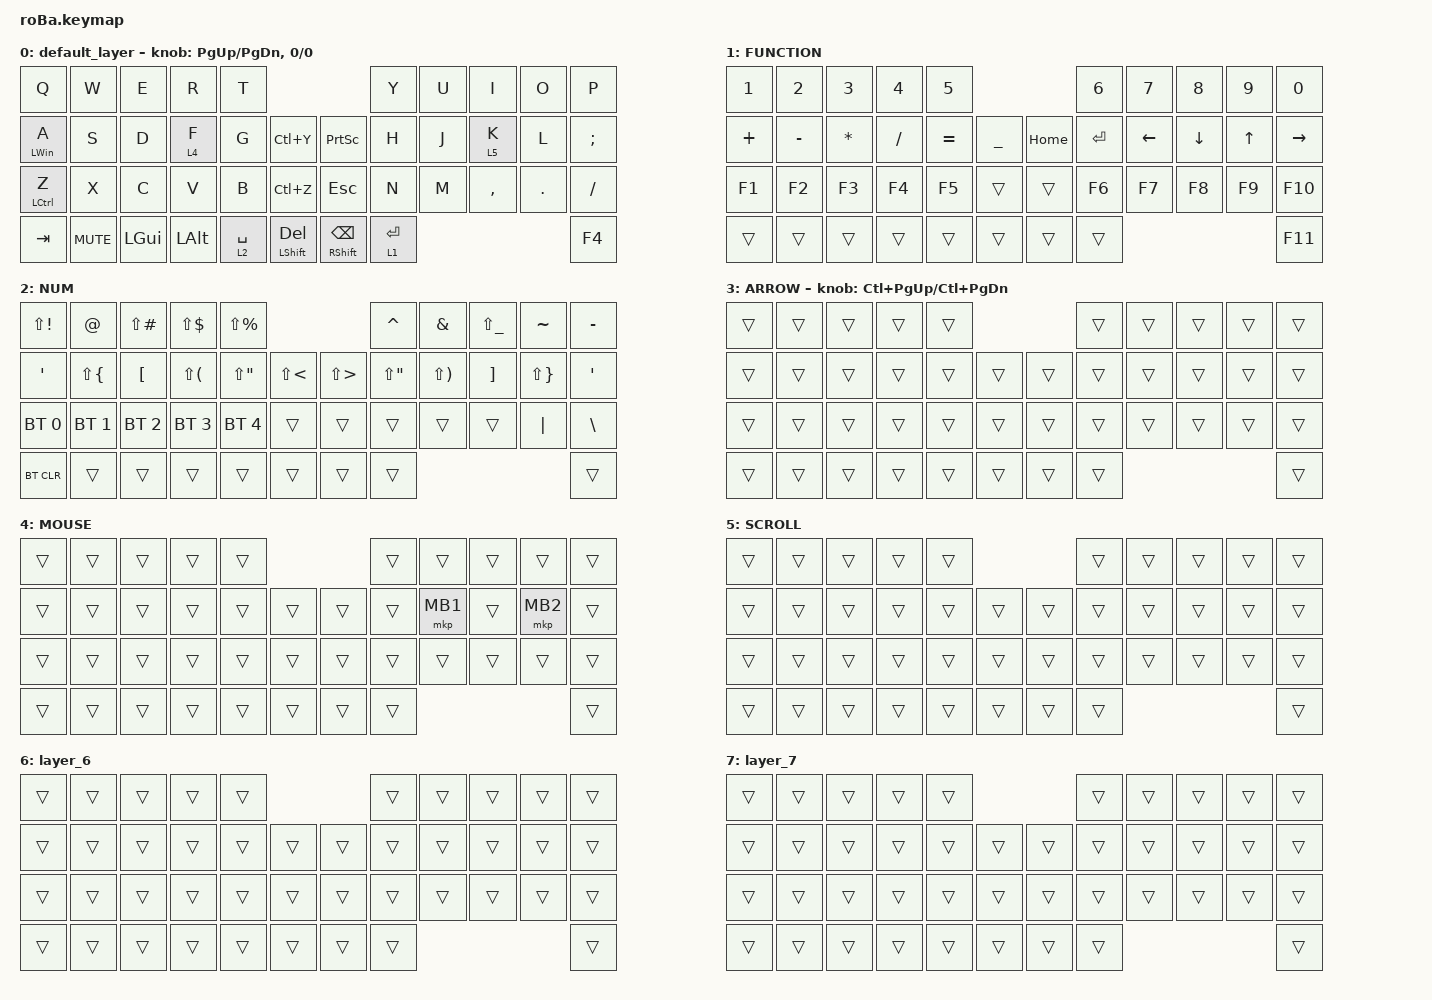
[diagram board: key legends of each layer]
#include <behaviors.dtsi>
#include <dt-bindings/zmk/bt.h>
#include <dt-bindings/zmk/keys.h>
#include <dt-bindings/zmk/pointing.h>

#define MOUSE 4
#define SCROLL 5
#define NUM 6

&mt {
    flavor = "balanced";
    quick-tap-ms = <0>;
};

/ {
    combos {
        compatible = "zmk,combos";

        shift_tab {
            bindings = <&kp LANG2>;
            key-positions = <12 13>;
        };

        log {
            bindings = <&log>;
            key-positions = <20 21>;
        };

        lang {
            bindings = <&kp LANG1>;
            key-positions = <18 19>;
        };

        pas {
            bindings = <&pas>;
            key-positions = <33 32>;
        };
    };

    macros {
        log: log {
            compatible = "zmk,behavior-macro";
            #binding-cells = <0>;
            bindings = <&kp T &kp DOT &kp N &kp A &kp K &kp A &kp N &kp O &kp DOT &kp F &kp N8 &kp X>;
            label = "LOG";
        };

        pas: pas {
            compatible = "zmk,behavior-macro";
            #binding-cells = <0>;
            bindings = <&kp N1 &kp N1 &kp N1 &kp N1 &kp N1 &kp N1 &kp N1 &kp N1 &kp LS(A) &kp A>;
            label = "PAS";
        };
    };

    keymap {
        compatible = "zmk,keymap";

        default_layer {
            bindings = <
&kp Q               &kp W       &kp E         &kp R         &kp T                                                    &kp Y        &kp U  &kp I      &kp O    &kp P
&mt LEFT_WIN A      &kp S       &kp D         &lt 4 F       &kp G        &kp LC(Y)              &kp PRINTSCREEN      &kp H        &kp J  &lt 5 K    &kp L    &kp SEMICOLON
&mt LEFT_CONTROL Z  &kp X       &kp C         &kp V         &kp B        &kp LC(Z)              &kp ESC              &kp N        &kp M  &kp COMMA  &kp DOT  &kp SLASH
&kp TAB             &kp C_MUTE  &kp LEFT_GUI  &kp LEFT_ALT  &lt 2 SPACE  &mt LSHIFT DELETE      &mt RSHFT BACKSPACE  &lt 1 ENTER                             &kp F4
            >;

            sensor-bindings = <&inc_dec_kp PG_UP PAGE_DOWN>, <&inc_dec_kp 0 0>;
        };

        FUNCTION {
            bindings = <
&kp N1    &kp N2     &kp N3     &kp N4     &kp N5                              &kp N6     &kp N7    &kp N8    &kp N9        &kp N0
&kp PLUS  &kp MINUS  &kp ASTRK  &kp SLASH  &kp EQUAL  &kp UNDER      &kp HOME  &kp ENTER  &kp LEFT  &kp DOWN  &kp UP_ARROW  &kp RIGHT
&kp F1    &kp F2     &kp F3     &kp F4     &kp F5     &trans         &trans    &kp F6     &kp F7    &kp F8    &kp F9        &kp F10
&trans    &trans     &trans     &trans     &trans     &trans         &trans    &trans                                       &kp F11
            >;
        };

        NUM {
            bindings = <
&kp LS(EXCL)  &kp AT        &kp LS(POUND)  &kp LS(DLLR)  &kp LS(PRCNT)                              &kp CARET    &kp AMPERSAND  &kp LS(UNDER)  &kp TILDE     &kp MINUS
&kp SQT       &kp LS(LBRC)  &kp LBKT       &kp LS(LPAR)  &kp LS(DQT)    &kp LS(LT)      &kp LS(GT)  &kp LS(DQT)  &kp LS(RPAR)   &kp RBKT       &kp LS(RBRC)  &kp SQT
&bt BT_SEL 0  &bt BT_SEL 1  &bt BT_SEL 2   &bt BT_SEL 3  &bt BT_SEL 4   &trans          &trans      &trans       &trans         &trans         &kp PIPE      &kp BACKSLASH
&bt BT_CLR    &trans        &trans         &trans        &trans         &trans          &trans      &trans                                                   &trans
            >;
        };

        ARROW {
            bindings = <
&trans  &trans  &trans  &trans  &trans                      &trans  &trans  &trans  &trans  &trans
&trans  &trans  &trans  &trans  &trans  &trans      &trans  &trans  &trans  &trans  &trans  &trans
&trans  &trans  &trans  &trans  &trans  &trans      &trans  &trans  &trans  &trans  &trans  &trans
&trans  &trans  &trans  &trans  &trans  &trans      &trans  &trans                          &trans
            >;

            sensor-bindings = <&inc_dec_kp LC(PAGE_UP) LC(PAGE_DOWN)>;
        };

        MOUSE {
            bindings = <
&trans  &trans  &trans  &trans  &trans                      &trans  &trans    &trans  &trans    &trans
&trans  &trans  &trans  &trans  &trans  &trans      &trans  &trans  &mkp MB1  &trans  &mkp MB2  &trans
&trans  &trans  &trans  &trans  &trans  &trans      &trans  &trans  &trans    &trans  &trans    &trans
&trans  &trans  &trans  &trans  &trans  &trans      &trans  &trans                              &trans
            >;
        };

        SCROLL {
            bindings = <
&trans  &trans  &trans  &trans  &trans                      &trans  &trans  &trans  &trans  &trans
&trans  &trans  &trans  &trans  &trans  &trans      &trans  &trans  &trans  &trans  &trans  &trans
&trans  &trans  &trans  &trans  &trans  &trans      &trans  &trans  &trans  &trans  &trans  &trans
&trans  &trans  &trans  &trans  &trans  &trans      &trans  &trans                          &trans
            >;
        };

        layer_6 {
            bindings = <
&trans  &trans  &trans  &trans  &trans                      &trans  &trans  &trans  &trans  &trans
&trans  &trans  &trans  &trans  &trans  &trans      &trans  &trans  &trans  &trans  &trans  &trans
&trans  &trans  &trans  &trans  &trans  &trans      &trans  &trans  &trans  &trans  &trans  &trans
&trans  &trans  &trans  &trans  &trans  &trans      &trans  &trans                          &trans
            >;
        };

        layer_7 {
            bindings = <
&trans  &trans  &trans  &trans  &trans                      &trans  &trans  &trans  &trans  &trans
&trans  &trans  &trans  &trans  &trans  &trans      &trans  &trans  &trans  &trans  &trans  &trans
&trans  &trans  &trans  &trans  &trans  &trans      &trans  &trans  &trans  &trans  &trans  &trans
&trans  &trans  &trans  &trans  &trans  &trans      &trans  &trans                          &trans
            >;
        };
    };
};
